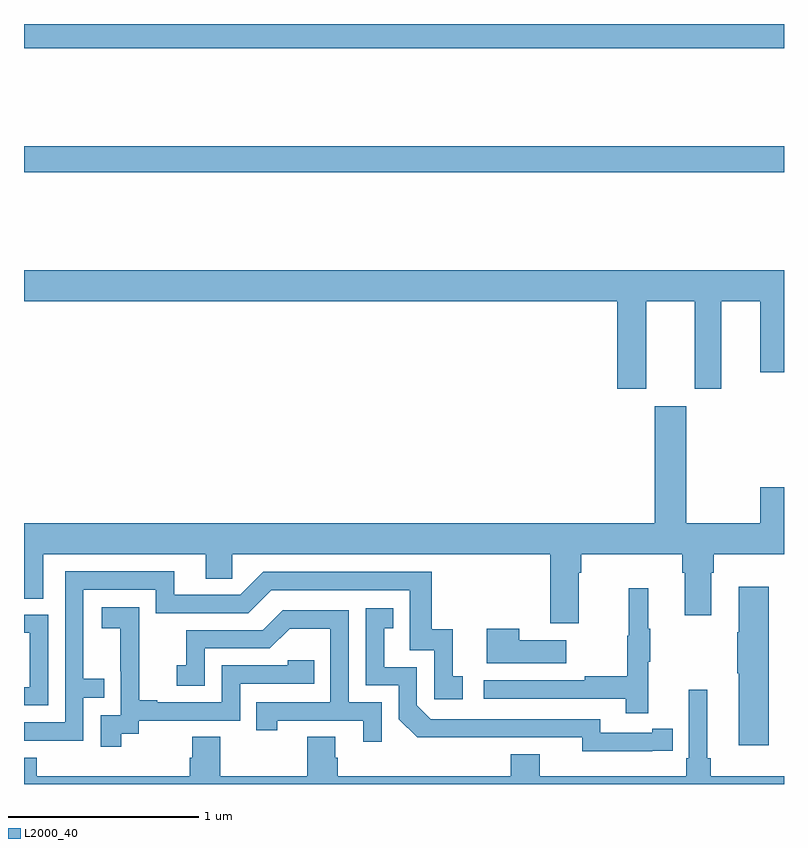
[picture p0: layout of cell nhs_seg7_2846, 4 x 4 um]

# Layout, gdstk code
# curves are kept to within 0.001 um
import gdstk
lib = gdstk.Library(unit=1e-6, precision=1e-09)
def R(c, l, rs):  # rectangles x0, y0, x1, y1
    for r in rs: c.add(gdstk.rectangle(r[:2], r[2:], *l))
def P(c, l, *ps):  # polygons
    for p in ps: c.add(gdstk.Polygon(p, *l))
L2000_40 = (2000, 40)

nhs_seg7_2846 = lib.new_cell('nhs_seg7_2846')
R(nhs_seg7_2846, L2000_40, [(293,1077.22,297,1077.356), (293,1077.872,297,1078)])
P(nhs_seg7_2846, L2000_40, [(296.275,1076.54),(296.531,1076.54),(296.531,1076.079),(296.671,1076.079),(296.671,1076.54),(296.876,1076.54),(296.876,1076.166),(297,1076.166),(297,1076.704),(293,1076.704),(293,1076.54),(296.123,1076.54),(296.123,1076.079),(296.275,1076.079)],
  [(295.921,1075.112),(295.934,1075.112),(295.934,1075.208),(296.465,1075.208),(296.465,1075.112),(296.477,1075.112),(296.477,1074.888),(296.617,1074.888),(296.617,1075.112),(296.63,1075.112),(296.63,1075.208),(297,1075.208),(297,1075.561),(296.876,1075.561),(296.876,1075.372),(296.485,1075.372),(296.485,1075.987),(296.321,1075.987),(296.321,1075.372),(293,1075.372),(293,1074.976),(293.101,1074.976),(293.101,1075.208),(293.957,1075.208),(293.957,1075.081),(294.096,1075.081),(294.096,1075.208),(295.769,1075.208),(295.769,1074.846),(295.921,1074.846)],
  [(293.313,1074.453),(293.423,1074.453),(293.423,1074.554),(293.313,1074.554),(293.313,1075.023),(293.694,1075.023),(293.694,1074.9),(294.18,1074.9),(294.3,1075.02),(295.029,1075.02),(295.029,1074.705),(295.158,1074.705),(295.158,1074.447),(295.309,1074.447),(295.309,1074.567),(295.256,1074.567),(295.256,1074.814),(295.145,1074.814),(295.145,1075.116),(294.258,1075.116),(294.138,1074.996),(293.791,1074.996),(293.791,1075.119),(293.217,1075.119),(293.217,1074.324),(293,1074.324),(293,1074.228),(293.313,1074.228)],
  [(296.921,1075.039),(296.762,1075.039),(296.762,1074.8),(296.755,1074.8),(296.755,1074.583),(296.762,1074.583),(296.762,1074.204),(296.921,1074.204)],
  [(296.285,1074.643),(296.296,1074.643),(296.296,1074.817),(296.285,1074.817),(296.285,1075.03),(296.182,1075.03),(296.182,1074.78),(296.175,1074.78),(296.175,1074.566),(295.951,1074.566),(295.951,1074.546),(295.419,1074.546),(295.419,1074.45),(296.167,1074.45),(296.167,1074.372),(296.285,1074.372)],
  [(293.512,1074.265),(293.604,1074.265),(293.604,1074.333),(294.138,1074.333),(294.138,1074.528),(294.527,1074.528),(294.527,1074.651),(294.387,1074.651),(294.387,1074.624),(294.042,1074.624),(294.042,1074.429),(293.701,1074.429),(293.701,1074.442),(293.606,1074.442),(293.606,1074.725),(293.607,1074.725),(293.607,1074.931),(293.409,1074.931),(293.409,1074.821),(293.507,1074.821),(293.507,1074.593),(293.508,1074.593),(293.508,1074.363),(293.403,1074.363),(293.403,1074.195),(293.512,1074.195)],
  [(296.306,1074.174),(296.414,1074.174),(296.414,1074.29),(296.306,1074.29),(296.306,1074.27),(296.034,1074.27),(296.034,1074.342),(295.14,1074.342),(295.068,1074.414),(295.068,1074.615),(294.895,1074.615),(294.895,1074.819),(294.944,1074.819),(294.944,1074.925),(294.798,1074.925),(294.798,1074.519),(294.972,1074.519),(294.972,1074.342),(295.07,1074.245),(295.938,1074.246),(295.938,1074.173)],
  [(294.882,1074.429),(294.708,1074.429),(294.708,1074.915),(294.362,1074.915),(294.257,1074.81),(293.854,1074.81),(293.854,1074.625),(293.805,1074.625),(293.805,1074.516),(293.952,1074.516),(293.952,1074.714),(294.294,1074.714),(294.398,1074.818),(294.612,1074.818),(294.612,1074.429),(294.223,1074.429),(294.223,1074.282),(294.334,1074.282),(294.334,1074.333),(294.785,1074.333),(294.785,1074.222),(294.882,1074.222)],
  [(293.127,1074.891),(293,1074.891),(293,1074.795),(293.031,1074.795),(293.031,1074.51),(293,1074.51),(293,1074.414),(293.127,1074.414)],
  [(295.855,1074.757),(295.607,1074.757),(295.607,1074.817),(295.436,1074.817),(295.436,1074.635),(295.855,1074.635)],
  [(296.499,1074.496),(296.499,1074.136),(296.486,1074.136),(296.486,1074.04),(295.714,1074.04),(295.714,1074.157),(295.562,1074.157),(295.562,1074.04),(294.65,1074.04),(294.65,1074.138),(294.637,1074.138),(294.637,1074.248),(294.49,1074.248),(294.49,1074.04),(294.033,1074.04),(294.033,1074.248),(293.885,1074.248),(293.885,1074.138),(293.873,1074.138),(293.873,1074.04),(293.066,1074.04),(293.066,1074.139),(293,1074.139),(293,1074),(297,1074),(297,1074.04),(296.615,1074.04),(296.615,1074.136),(296.596,1074.136),(296.596,1074.496)])

lib.write_gds('nhs_seg7_2846.gds')
